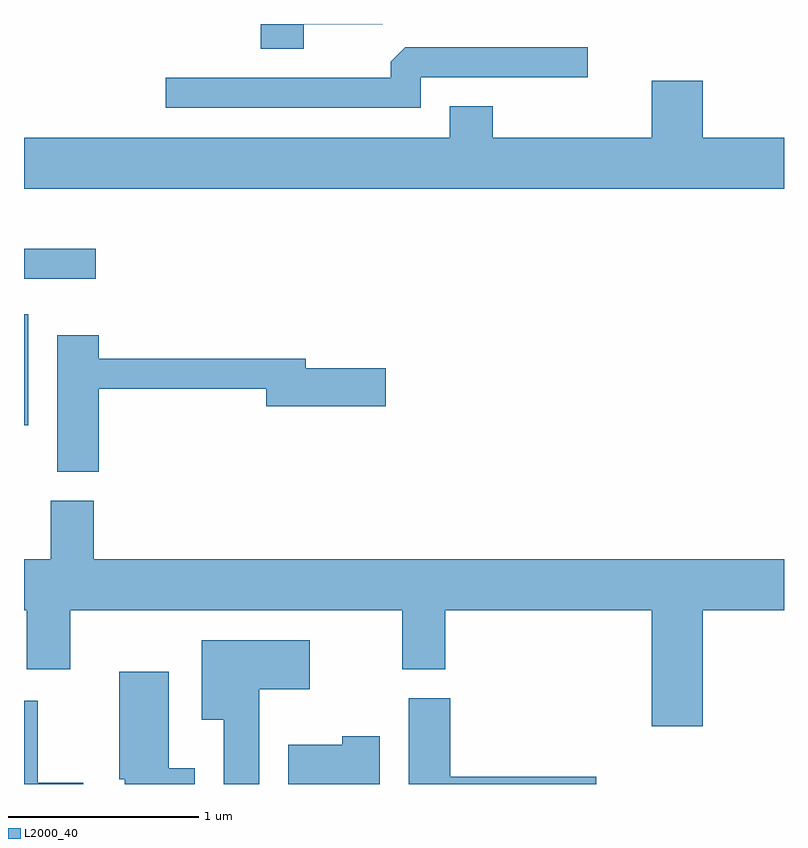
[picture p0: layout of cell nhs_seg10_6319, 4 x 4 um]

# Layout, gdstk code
import gdstk
lib = gdstk.Library(unit=1e-6, precision=1e-09)
def R(c, l, rs):  # rectangles x0, y0, x1, y1
    for r in rs: c.add(gdstk.rectangle(r[:2], r[2:], *l))
def P(c, l, *ps):  # polygons
    for p in ps: c.add(gdstk.Polygon(p, *l))
L2000_40 = (2000, 40)

nhs_seg10_6319 = lib.new_cell('nhs_seg10_6319')
R(nhs_seg10_6319, L2000_40, [(371.611,2150.411,371.634,2150.994), (371.611,2151.181,371.988,2151.339)])
P(nhs_seg10_6319, L2000_40, [(373.084,2152.521),(373.499,2152.521),(373.5,2152.522),(372.856,2152.522),(372.856,2152.391),(373.084,2152.391)],
  [(373.699,2152.241),(374.578,2152.241),(374.578,2152.399),(373.617,2152.399),(373.541,2152.324),(373.541,2152.239),(372.358,2152.239),(372.358,2152.081),(373.699,2152.081)],
  [(375.611,2151.924),(375.184,2151.924),(375.184,2152.224),(374.916,2152.224),(374.916,2151.924),(374.079,2151.924),(374.079,2152.089),(373.851,2152.089),(373.851,2151.924),(371.611,2151.924),(371.611,2151.656),(375.611,2151.656)],
  [(372.004,2150.601),(372.886,2150.601),(372.886,2150.511),(373.514,2150.511),(373.514,2150.709),(373.094,2150.709),(373.094,2150.759),(372.004,2150.759),(372.004,2150.884),(371.786,2150.884),(371.786,2150.166),(372.004,2150.166)],
  [(375.184,2149.436),(375.611,2149.436),(375.611,2149.704),(371.979,2149.704),(371.979,2150.014),(371.751,2150.014),(371.751,2149.704),(371.611,2149.704),(371.611,2149.436),(371.626,2149.436),(371.626,2149.126),(371.854,2149.126),(371.854,2149.436),(373.601,2149.436),(373.601,2149.126),(373.829,2149.126),(373.829,2149.436),(374.916,2149.436),(374.916,2148.826),(375.184,2148.826)],
  [(372.849,2149.021),(373.114,2149.021),(373.114,2149.279),(372.546,2149.279),(372.546,2148.861),(372.661,2148.861),(372.661,2148.522),(372.849,2148.522)],
  [(372.509,2148.604),(372.374,2148.604),(372.374,2149.114),(372.111,2149.114),(372.111,2148.546),(372.141,2148.546),(372.141,2148.522),(372.509,2148.522)],
  [(374.624,2148.559),(373.854,2148.559),(373.854,2148.974),(373.636,2148.974),(373.636,2148.522),(374.624,2148.522)],
  [(371.924,2148.529),(371.684,2148.529),(371.684,2148.959),(371.611,2148.959),(371.611,2148.522),(371.924,2148.522)],
  [(373.484,2148.774),(373.286,2148.774),(373.286,2148.729),(373.001,2148.729),(373.001,2148.522),(373.484,2148.522)])

lib.write_gds('nhs_seg10_6319.gds')
